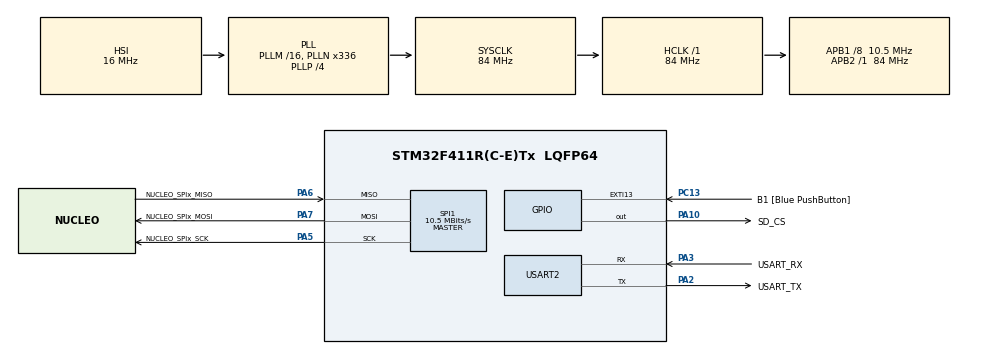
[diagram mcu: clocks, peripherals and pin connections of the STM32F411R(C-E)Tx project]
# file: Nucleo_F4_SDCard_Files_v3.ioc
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Mcu.Family=STM32F4
PC15-OSC32_OUT.Mode=LSE-External-Oscillator
PA6.Mode=Full_Duplex_Master
RCC.CortexFreq_Value=84000000
PA7.Mode=Full_Duplex_Master
SPI1.VirtualType=VM_MASTER
PC13-ANTI_TAMP.GPIO_Label=B1 [Blue PushButton]
PA14.GPIO_Label=TCK
PH1\ -\ OSC_OUT.Mode=HSE-External-Clock-Source
PA6.GPIO_Label=NUCLEO_SPIx_MISO
RCC.APB1CLKDivider=RCC_HCLK_DIV8
PC14-OSC32_IN.Signal=RCC_OSC32_IN
RCC.SYSCLKSource=RCC_SYSCLKSOURCE_PLLCLK
ProjectManager.StackSize=0x400
PA13.Signal=SYS_JTMS-SWDIO
PA3.Mode=Asynchronous
PH0\ -\ OSC_IN.Mode=HSE-External-Clock-Source
PH0\ -\ OSC_IN.Signal=RCC_OSC_IN
ProjectManager.TargetToolchain=STM32CubeIDE
SPI1.Direction=SPI_DIRECTION_2LINES
RCC.HCLKFreq_Value=84000000
RCC.APB2TimFreq_Value=84000000
SPI1.CalculateBaudRate=10.5 MBits/s
PC15-OSC32_OUT.Signal=RCC_OSC32_OUT
RCC.AHBFreq_Value=84000000
PA5.Signal=SPI1_SCK
RCC.HSE_VALUE=8000000
PH1\ -\ OSC_OUT.Signal=RCC_OSC_OUT
board=NUCLEO-F411RE
PC13-ANTI_TAMP.Signal=GPXTI13
RCC.VCOOutputFreq_Value=336000000
RCC.APB2Freq_Value=84000000
PC14-OSC32_IN.Mode=LSE-External-Oscillator
SPI1.Mode=SPI_MODE_MASTER
PA14.Mode=Serial_Wire
PA10.GPIO_Label=SD_CS
PA13.Mode=Serial_Wire
Mcu.Name=STM32F411R(C-E)Tx
PA2.Signal=USART2_TX
PA13.GPIO_Label=TMS
RCC.FLatency-AdvancedSettings=FLASH_LATENCY_2
RCC.48MHZClocksFreq_Value=84000000
RCC.SYSCLKFreq_VALUE=84000000
Mcu.Package=LQFP64
PA6.Signal=SPI1_MISO
PA7.GPIO_Label=NUCLEO_SPIx_MOSI
PA5.GPIO_Label=NUCLEO_SPIx_SCK
USART2.VirtualMode=VM_ASYNC
PC13-ANTI_TAMP.GPIO_ModeDefaultEXTI=GPIO_MODE_IT_FALLING
PA2.GPIO_Label=USART_TX
PA10.Signal=GPIO_Output
PA14.Signal=SYS_JTCK-SWCLK
ProjectManager.HeapSize=0x200
RCC.HSI_VALUE=16000000
RCC.PLLP=RCC_PLLP_DIV4
NVIC.PriorityGroup=NVIC_PRIORITYGROUP_0
RCC.PLLN=336
RCC.APB1TimFreq_Value=21000000
PA2.Mode=Asynchronous
RCC.APB1Freq_Value=10500000
SPI1.BaudRatePrescaler=SPI_BAUDRATEPRESCALER_8
PA3.GPIO_Label=USART_RX
PA3.Signal=USART2_RX
PA5.Mode=Full_Duplex_Master
PA7.Signal=SPI1_MOSI

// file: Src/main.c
/* USER CODE BEGIN Header */
/**
 ******************************************************************************
 * @file           : main.c
 * @brief          : Main program body
 ******************************************************************************
 * @attention
 *
 * <h2><center>&copy; Copyright (c) 2019 STMicroelectronics.
 * All rights reserved.</center></h2>
 *
 * This software component is licensed by ST under BSD 3-Clause license,
 * the "License"; You may not use this file except in compliance with the
 * License. You may obtain a copy of the License at:
 *                        opensource.org/licenses/BSD-3-Clause
 *
 ******************************************************************************
 */
/* USER CODE END Header */
#include "main.h"

/* USER CODE BEGIN Includes */
#include <stdio.h>
#include <stdlib.h>
#include <string.h>
#include <assert.h>
/* USER CODE END Includes */

/* USER CODE BEGIN PTD */
typedef enum {
	SHIELD_NOT_DETECTED = 0,
	SHIELD_DETECTED
}ShieldStatus;

/* Private define ------------------------------------------------------------*/
#define SD_CARD_NOT_FORMATTED                    0
#define SD_CARD_FILE_NOT_SUPPORTED               1
#define SD_CARD_OPEN_FAIL                        2
#define FATFS_NOT_MOUNTED                        3
#define STRING_SZ                              128
/* USER CODE END PTD */

SPI_HandleTypeDef hspi1;

UART_HandleTypeDef huart2;

/* USER CODE BEGIN PV */
/* Private variables ---------------------------------------------------------*/
uint8_t BlinkSpeed = 0, str[20];
__IO uint8_t JoystickValue = 0;
char* pDirectoryFiles[MAX_BMP_FILES];
DIR dir;
FILINFO fno;
FIL MyFile;     /* File object */
FATFS SD_FatFs;  /* File system object for SD card logical drive */
char SD_Path[4]; /* SD card logical drive path */
DIR  items[256];   /* array of dir struct */
UINT items_sz=0;

/* USER CODE END PV */

void SystemClock_Config(void);
static void MX_GPIO_Init(void);
static void MX_USART2_UART_Init(void);
static void MX_SPI1_Init(void);
/* USER CODE BEGIN PFP */

FRESULT scan_files (char* path, DIR* items, UINT *items_sz);
FRESULT read_filename(char* path, DIR dir, char* fname);

/* USER CODE END PFP */

/* USER CODE BEGIN 0 */
#ifdef __GNUC__
/* With GCC, small printf (option LD Linker->Libraries->Small printf
     set to 'Yes') calls __io_putchar() */
#define PUTCHAR_PROTOTYPE int __io_putchar(int ch)
#else
#define PUTCHAR_PROTOTYPE int fputc(int ch, FILE *f)
#endif /* __GNUC__ */

/* Private functions ---------------------------------------------------------*/
/**
 * @brief  Retargets the C library printf function to the USART.
 * @param  None
 * @retval None
 */
PUTCHAR_PROTOTYPE
{
	/* Place your implementation of fputc here */
	/* e.g. write a character to the EVAL_COM1 and Loop until the end of transmission */
	HAL_UART_Transmit(&huart2, (uint8_t *)&ch, 1, 0xFFFF);

	return ch;
}
/* USER CODE END 0 */

int main(void)
{
  /* USER CODE BEGIN 1 */
	char buffer[STRING_SZ];
  /* USER CODE END 1 */

  /* MCU Configuration--------------------------------------------------------*/

  /* Reset of all peripherals, Initializes the Flash interface and the Systick. */
  HAL_Init();

  /* Configure the system clock */
  SystemClock_Config();

  /* Initialize all configured peripherals */
  MX_GPIO_Init();
  MX_USART2_UART_Init();
  MX_SPI1_Init();
  /* USER CODE BEGIN 2 */

	snprintf(buffer, sizeof(buffer), "Start\n");
	HAL_UART_Transmit(&huart2, (uint8_t *)buffer, strlen(buffer), 0xFFFF);

	//SD_IO_Init();

	BSP_LED_Off(LED2);

	/*##-1- Link the SD disk I/O driver ########################################*/
	if(FATFS_LinkDriver(&SD_Driver, SD_Path) == 0)
	{
		/*##-2- Register the file system object to the FatFs module ##############*/
		if(f_mount(&SD_FatFs, (TCHAR const*)SD_Path, 0) != FR_OK)
		{
			/* FatFs Initialization Error */
			Error_Handler();
		}
		else
		{
			/*##-3- Create a FAT file system (format) on the logical drive #########*/
			char path[2]="/";
			FRESULT res = scan_files(path, items, &items_sz);
			snprintf(buffer, sizeof(buffer), "==============================================\n");
			HAL_UART_Transmit(&huart2, (uint8_t *)buffer, strlen(buffer), 0xFFFF);

			for (UINT it=0; it<items_sz; it++){
				snprintf(buffer, sizeof(buffer), "dir %x\n", items[it].dir);
				HAL_UART_Transmit(&huart2, (uint8_t *)buffer, strlen(buffer), 0xFFFF);
				FRESULT res = read_filename(path, items[it], buffer);
				if (res != FR_OK) continue;
				HAL_UART_Transmit(&huart2, (uint8_t *)buffer, strlen(buffer), 0xFFFF);
			}

			snprintf(buffer, sizeof(buffer), "==============================================\n");
			HAL_UART_Transmit(&huart2, (uint8_t *)buffer, strlen(buffer), 0xFFFF);

			for (UINT it=0; it<items_sz; it++){
				FRESULT res = read_filename(path, items[it], buffer);
				if (res != FR_OK) continue;
				HAL_UART_Transmit(&huart2, (uint8_t *)buffer, strlen(buffer), 0xFFFF);
			}

			snprintf(buffer, sizeof(buffer), "==============================================\n");
			HAL_UART_Transmit(&huart2, (uint8_t *)buffer, strlen(buffer), 0xFFFF);

			res = read_filename(path, items[10], buffer);
			if (res == FR_OK) HAL_UART_Transmit(&huart2, (uint8_t *)buffer, strlen(buffer), 0xFFFF);

			res = read_filename(path, items[0], buffer);
			if (res == FR_OK) HAL_UART_Transmit(&huart2, (uint8_t *)buffer, strlen(buffer), 0xFFFF);

			res = read_filename(path, items[5], buffer);
			if (res == FR_OK) HAL_UART_Transmit(&huart2, (uint8_t *)buffer, strlen(buffer), 0xFFFF);

			snprintf(buffer, sizeof(buffer), "==============================================\n");
			HAL_UART_Transmit(&huart2, (uint8_t *)buffer, strlen(buffer), 0xFFFF);

		}
	}

	/*##-11- Unlink the SD disk I/O driver ####################################*/
	FATFS_UnLinkDriver(SD_Path);

  /* USER CODE END 2 */

  /* Infinite loop */
	while (1)
	{

	}
}

void SystemClock_Config(void)
{
  RCC_OscInitTypeDef RCC_OscInitStruct = {0};
  RCC_ClkInitTypeDef RCC_ClkInitStruct = {0};

  /** Configure the main internal regulator output voltage
  */
  __HAL_RCC_PWR_CLK_ENABLE();
  __HAL_PWR_VOLTAGESCALING_CONFIG(PWR_REGULATOR_VOLTAGE_SCALE1);
  /** Initializes the RCC Oscillators according to the specified parameters
  * in the RCC_OscInitTypeDef structure.
  */
  RCC_OscInitStruct.OscillatorType = RCC_OSCILLATORTYPE_HSI;
  RCC_OscInitStruct.HSIState = RCC_HSI_ON;
  RCC_OscInitStruct.HSICalibrationValue = RCC_HSICALIBRATION_DEFAULT;
  RCC_OscInitStruct.PLL.PLLState = RCC_PLL_ON;
  RCC_OscInitStruct.PLL.PLLSource = RCC_PLLSOURCE_HSI;
  RCC_OscInitStruct.PLL.PLLM = 16;
  RCC_OscInitStruct.PLL.PLLN = 336;
  RCC_OscInitStruct.PLL.PLLP = RCC_PLLP_DIV4;
  RCC_OscInitStruct.PLL.PLLQ = 4;
  if (HAL_RCC_OscConfig(&RCC_OscInitStruct) != HAL_OK)
  {
    Error_Handler();
  }
  /** Initializes the CPU, AHB and APB buses clocks
  */
  RCC_ClkInitStruct.ClockType = RCC_CLOCKTYPE_HCLK|RCC_CLOCKTYPE_SYSCLK
                              |RCC_CLOCKTYPE_PCLK1|RCC_CLOCKTYPE_PCLK2;
  RCC_ClkInitStruct.SYSCLKSource = RCC_SYSCLKSOURCE_PLLCLK;
  RCC_ClkInitStruct.AHBCLKDivider = RCC_SYSCLK_DIV1;
  RCC_ClkInitStruct.APB1CLKDivider = RCC_HCLK_DIV8;
  RCC_ClkInitStruct.APB2CLKDivider = RCC_HCLK_DIV1;

  if (HAL_RCC_ClockConfig(&RCC_ClkInitStruct, FLASH_LATENCY_2) != HAL_OK)
  {
    Error_Handler();
  }
}

static void MX_SPI1_Init(void)
{

  /* SPI1 parameter configuration*/
  hspi1.Instance = SPI1;
  hspi1.Init.Mode = SPI_MODE_MASTER;
  hspi1.Init.Direction = SPI_DIRECTION_2LINES;
  hspi1.Init.DataSize = SPI_DATASIZE_8BIT;
  hspi1.Init.CLKPolarity = SPI_POLARITY_LOW;
  hspi1.Init.CLKPhase = SPI_PHASE_1EDGE;
  hspi1.Init.NSS = SPI_NSS_SOFT;
  hspi1.Init.BaudRatePrescaler = SPI_BAUDRATEPRESCALER_8;
  hspi1.Init.FirstBit = SPI_FIRSTBIT_MSB;
  hspi1.Init.TIMode = SPI_TIMODE_DISABLE;
  hspi1.Init.CRCCalculation = SPI_CRCCALCULATION_DISABLE;
  hspi1.Init.CRCPolynomial = 10;
  if (HAL_SPI_Init(&hspi1) != HAL_OK)
  {
    Error_Handler();
  }

}

static void MX_USART2_UART_Init(void)
{

  huart2.Instance = USART2;
  huart2.Init.BaudRate = 115200;
  huart2.Init.WordLength = UART_WORDLENGTH_8B;
  huart2.Init.StopBits = UART_STOPBITS_1;
  huart2.Init.Parity = UART_PARITY_NONE;
  huart2.Init.Mode = UART_MODE_TX_RX;
  huart2.Init.HwFlowCtl = UART_HWCONTROL_NONE;
  huart2.Init.OverSampling = UART_OVERSAMPLING_16;
  if (HAL_UART_Init(&huart2) != HAL_OK)
  {
    Error_Handler();
  }

}

static void MX_GPIO_Init(void)
{
  GPIO_InitTypeDef GPIO_InitStruct = {0};

  /* GPIO Ports Clock Enable */
  __HAL_RCC_GPIOC_CLK_ENABLE();
  __HAL_RCC_GPIOH_CLK_ENABLE();
  __HAL_RCC_GPIOA_CLK_ENABLE();

  /*Configure GPIO pin Output Level */
  HAL_GPIO_WritePin(SD_CS_GPIO_Port, SD_CS_Pin, GPIO_PIN_RESET);

  /*Configure GPIO pin : B1_Pin */
  GPIO_InitStruct.Pin = B1_Pin;
  GPIO_InitStruct.Mode = GPIO_MODE_IT_FALLING;
  GPIO_InitStruct.Pull = GPIO_NOPULL;
  HAL_GPIO_Init(B1_GPIO_Port, &GPIO_InitStruct);

  /*Configure GPIO pin : SD_CS_Pin */
  GPIO_InitStruct.Pin = SD_CS_Pin;
  GPIO_InitStruct.Mode = GPIO_MODE_OUTPUT_PP;
  GPIO_InitStruct.Pull = GPIO_NOPULL;
  GPIO_InitStruct.Speed = GPIO_SPEED_FREQ_LOW;
  HAL_GPIO_Init(SD_CS_GPIO_Port, &GPIO_InitStruct);

}

/* USER CODE BEGIN 4 */
FRESULT scan_files (char* path, DIR* items, UINT *items_sz)        /* Start node to be scanned (***also used as work area***) */
{
	FRESULT res;
	DIR dir;
	UINT i;
	static FILINFO fno;
	char buffer[128];

	res = f_opendir(&dir, path);                       /* Open the directory */
	if (res == FR_OK) {
		items[*items_sz]=dir;
		(*items_sz)++;
		for (;;) {
			res = f_readdir(&dir, &fno);                   /* Read a directory item */

			if (res != FR_OK || fno.fname[0] == 0) break;  /* Break on error or end of dir */
//			if (fno.fattrib & AM_DIR) {                    /* It is a directory */
//				i = strlen(path);
//				sprintf(&path[i], "/%s", fno.fname);
//				res = scan_files(path, items, items_sz);     /* Enter the directory */
//				if (res != FR_OK) break;
//				path[i] = 0;
//			} else
			{                                       /* It is a file. */
				snprintf(buffer, sizeof(buffer), "%s/%s\n", path, fno.fname);
				HAL_UART_Transmit(&huart2, (uint8_t *)buffer, strlen(buffer), 0xFFFF);
				if (*items_sz>255) break;
				items[*items_sz]=dir;
				snprintf(buffer, sizeof(buffer), "DIR.dir pointer %x %x\n", dir.dir, items[*items_sz].dir);
				HAL_UART_Transmit(&huart2, (uint8_t *)buffer, strlen(buffer), 0xFFFF);
				(*items_sz)++;
			}
		}
		f_closedir(&dir);
	}

	return res;
}

FRESULT read_filename(char* path, DIR target_dir, char* fname)        /* Start node to be scanned (***also used as work area***) */
{
	FRESULT res;
	DIR dir;
	UINT i;
	static FILINFO fno;
	char buffer[STRING_SZ];

	res = f_opendir(&dir, path);                       /* Open the directory */
	if (res == FR_OK) {
		res = f_readdir(&target_dir, &fno);                   /* Read a directory item */

		if (res != FR_OK || fno.fname[0] == 0) {
			fname[0]=0;
			f_closedir(&dir);
			return FR_INT_ERR;  /* Break on error or end of dir */
		}
		if (fno.fattrib & AM_DIR) {
			fname[0]=0;
			f_closedir(&dir);
			return FR_INT_ERR;
		}

		snprintf(fname, STRING_SZ, "%s/%s\n", path, fno.fname);
	}
	f_closedir(&dir);

	return res;
}

/* USER CODE END 4 */

void Error_Handler(void)
{
}

/************************ (C) COPYRIGHT STMicroelectronics *****END OF FILE****/
